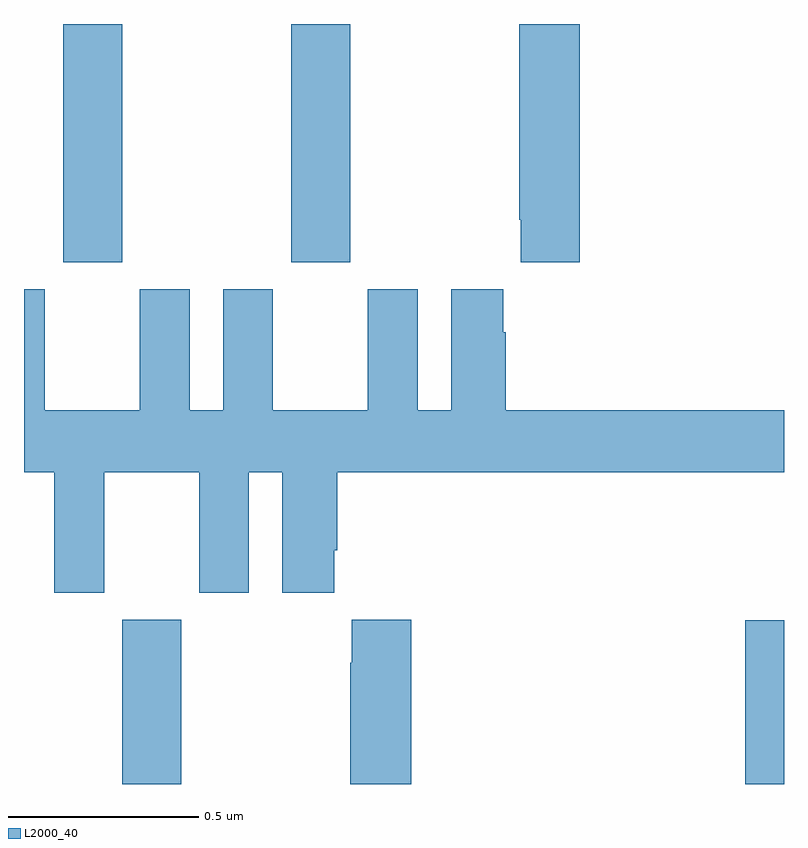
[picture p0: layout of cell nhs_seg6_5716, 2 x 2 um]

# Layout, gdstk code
import gdstk
lib = gdstk.Library(unit=1e-6, precision=1e-09)
def R(c, l, rs):  # rectangles x0, y0, x1, y1
    for r in rs: c.add(gdstk.rectangle(r[:2], r[2:], *l))
def P(c, l, *ps):  # polygons
    for p in ps: c.add(gdstk.Polygon(p, *l))
L2000_40 = (2000, 40)

nhs_seg6_5716 = lib.new_cell('nhs_seg6_5716')
R(nhs_seg6_5716, L2000_40, [(186.259,962.5,186.414,962.932), (187.898,962.5,188,962.931), (186.103,963.873,186.258,964.5), (186.703,963.873,186.858,964.5)])
P(nhs_seg6_5716, L2000_40, [(187.463,964.5),(187.303,964.5),(187.303,963.985),(187.307,963.985),(187.307,963.873),(187.463,963.873)],
  [(186.211,963.32),(186.461,963.32),(186.461,963.003),(186.592,963.003),(186.592,963.32),(186.68,963.32),(186.68,963.003),(186.817,963.003),(186.817,963.115),(186.824,963.115),(186.824,963.32),(188,963.32),(188,963.484),(187.268,963.484),(187.268,963.689),(187.261,963.689),(187.261,963.802),(187.124,963.802),(187.124,963.484),(187.036,963.484),(187.036,963.802),(186.905,963.802),(186.905,963.484),(186.655,963.484),(186.655,963.802),(186.524,963.802),(186.524,963.484),(186.436,963.484),(186.436,963.802),(186.305,963.802),(186.305,963.484),(186.055,963.484),(186.055,963.802),(186,963.802),(186,963.32),(186.08,963.32),(186.08,963.003),(186.211,963.003)],
  [(187.019,962.932),(186.863,962.932),(186.863,962.819),(186.859,962.819),(186.859,962.5),(187.019,962.5)])

lib.write_gds('nhs_seg6_5716.gds')
